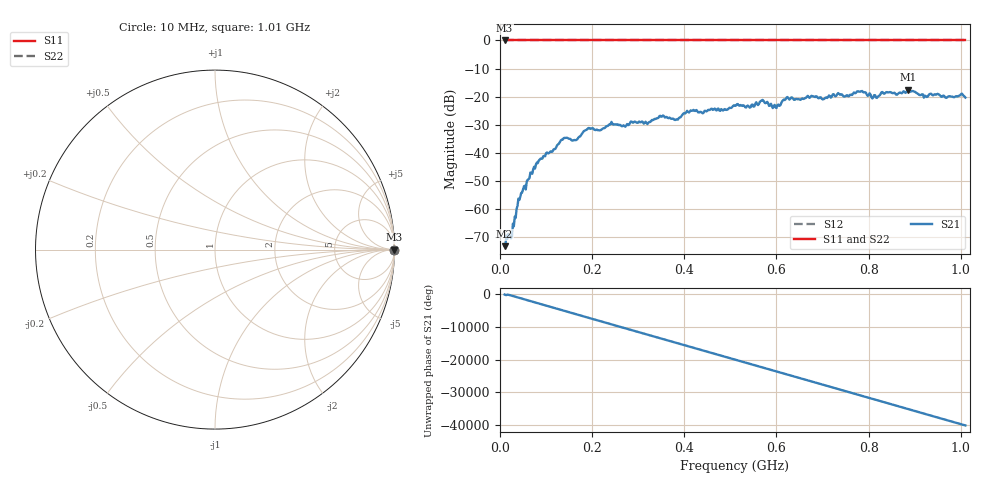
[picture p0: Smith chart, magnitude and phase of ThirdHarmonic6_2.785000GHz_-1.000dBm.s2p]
! 8/17/2025 7:10:08 AM
! C:\ANRITSUVNA\TEMP\TEMP.S2P
! CHANNEL.1
! TR.MEASUREMENT
! RAW.DATA
! RF.CORRECTION.OFF
! AVERAGING.OFF
! IF.BANDWIDTH: 5KHZ
! SWEEPTYPE:  FREQ.SWEEP(Linear)
! Reference Plane Port Info
! PORT:  PORT1  PORT2
! DISTANCE:  0  m  0  m
! TIME:  0  s  0  s
! PHASE.OFFSET:  0  deg.  0  deg.
! LOSS:  0  dB  0  dB
! REF.LOSS:  0  dB  0  dB
! REF.FREQ:  0  Hz  0  Hz
! Power Info
! POWER:  -20  dBm  -20  dBm
! EFF.POWER:  -20  dBm  -20  dBm
! SOURCE.ATTEN:  0  dB  0  dB
! TEST.ATTEN:  0  dB  0  dB
# GHZ S RI R 50.0
! FREQ.GHZ  S11RE  S11IM  S21RE  S21IM  S12RE  S12IM  S22RE  S22IM
!; PortSelection: Port_12
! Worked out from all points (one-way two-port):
!   501 points, 10 MHz to 1.01 GHz, reference 50 ohm
!   highest |S21| = -17.50 dB at 886 MHz (marker M1); lowest = -73.3 dB at 10 MHz (marker M2)
!   lowest |S11| = 0.0 dB at 10 MHz (marker M3)
!   |S11| at or under -10 dB: nowhere
!   |S22| runs from 0.0 to 0.0 dB; largest |S21 - S12| = 1.1
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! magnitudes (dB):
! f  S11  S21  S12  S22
! 10 MHz  0.0  -73.3  0.0  0.0
! 26 MHz  0.0  -69.8  0.0  0.0
! 40 MHz  0.0  -56.3  0.0  0.0
! 48 MHz  0.0  -54.2  0.0  0.0
! 82 MHz  0.0  -43.7  0.0  0.0
! 136 MHz  0.0  -35.4  0.0  0.0
! 162 MHz  0.0  -35.5  0.0  0.0
! 178 MHz  0.0  -33.2  0.0  0.0
! 344 MHz  0.0  -27.5  0.0  0.0
! 382 MHz  0.0  -28.2  0.0  0.0
! 416 MHz  0.0  -25.1  0.0  0.0
! 510 MHz  0.0  -23.3  0.0  0.0
! 568 MHz  0.0  -21.4  0.0  0.0
! 596 MHz  0.0  -23.0  0.0  0.0
! 620 MHz  0.0  -20.9  0.0  0.0
! 678 MHz  0.0  -19.8  0.0  0.0
! 782 MHz  0.0  -18.2  0.0  0.0
! 820 MHz  0.0  -20.0  0.0  0.0
! 844 MHz  0.0  -18.5  0.0  0.0
! 886 MHz  0.0  -17.5  0.0  0.0
! 924 MHz  0.0  -19.9  0.0  0.0
! 1.01 GHz  0.0  -20.3  0.0  0.0
